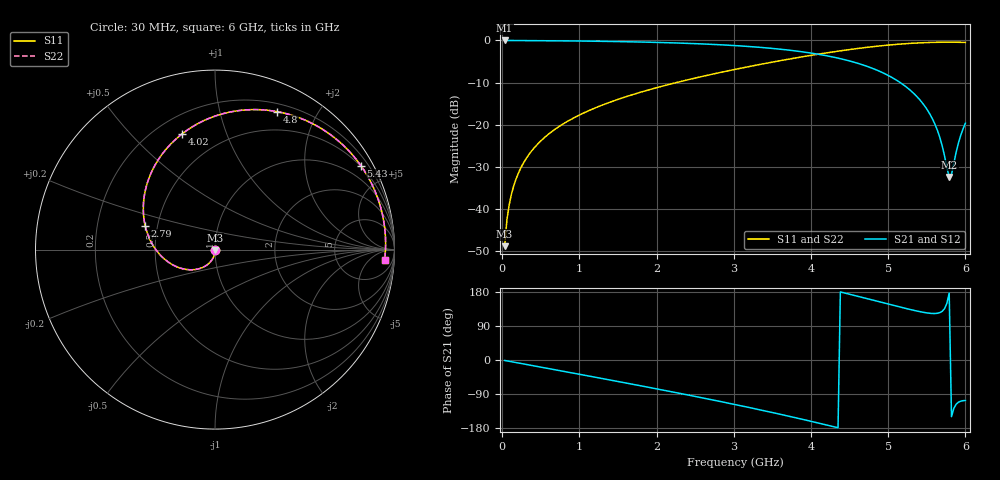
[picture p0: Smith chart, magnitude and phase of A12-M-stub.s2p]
! yapnr Order 0 O0-M: O0-M A12 STUB (stub, family M)
! stackup OSHPARK-4L-FR408HR, nominal parameters; geometry of the OSHPARK-4L-FR408HR design
! model: 2D quasi-static RLGC (Djordjevic-Sarkar, Huray roughness, Wheeler loss); generated by python -m yapnr.rf.coupons expected --stackup OSHPARK-4L-FR408HR --upload M
! reference planes 10 mm from each end; 50 ohm (from the M line's Zc)
# GHz S DB R 50
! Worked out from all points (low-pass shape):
!   200 points, 30 MHz to 6 GHz, reference 50 ohm
!   highest |S21| = -0.01 dB at 30 MHz (marker M1); lowest = -32.4 dB at 5.79 GHz (marker M2)
!   |S21| within 3 dB of the highest: start of sweep to 4.001 GHz
!   lowest |S11| = -48.8 dB at 30 MHz (marker M3), VSWR 1.01, Z = 50 - j0.359 ohm
!   |S11| at or under -10 dB: start of sweep to 2.255 GHz
!   |S22| runs from -48.8 to -0.4 dB; largest |S21 - S12| = 0
!   S11 on the Smith chart (normalised r, x): 30 MHz: 1.00, -0.01; 2.79 GHz: 0.43, +0.14; 4.02 GHz: 0.30, +0.71; 4.8 GHz: 0.28, +1.51; 5.43 GHz: 0.47, +3.68; 6 GHz: 16, -18
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0.03  -48.84 -82.8  -0.01 -1.2  -0.01 -1.2  -48.84 -82.8
0.06  -42.56 -87.0  -0.01 -2.3  -0.01 -2.3  -42.56 -87.0
0.12  -36.38 -91.3  -0.01 -4.6  -0.01 -4.6  -36.38 -91.3
0.27  -29.23 -98.5  -0.03 -10.2  -0.03 -10.2  -29.23 -98.5
0.57  -22.68 -110.7  -0.06 -21.5  -0.06 -21.5  -22.68 -110.7
1.05  -17.26 -129.3  -0.15 -39.6  -0.15 -39.6  -17.26 -129.3
1.56  -13.62 -149.1  -0.29 -59.0  -0.29 -59.0  -13.62 -149.1
2.04  -11.02 -168.1  -0.49 -77.7  -0.49 -77.7  -11.02 -168.1
2.79  -7.74 161.3  -1.00 -108.0  -1.00 -108.0  -7.74 161.3
3.03  -6.82 151.1  -1.24 -118.2  -1.24 -118.2  -6.82 151.1
3.57  -4.91 127.2  -2.02 -141.8  -2.02 -141.8  -4.91 127.2
4.02  -3.48 106.0  -3.06 -162.7  -3.06 -162.7  -3.48 106.0
4.44  -2.31 84.9  -4.59 176.6  -4.59 176.6  -2.31 84.9
4.8  -1.48 65.7  -6.65 158.1  -6.65 158.1  -1.48 65.7
5.01  -1.09 54.1  -8.40 147.2  -8.40 147.2  -1.09 54.1
5.43  -0.56 30.0  -14.55 126.8  -14.55 126.8  -0.56 30.0
5.64  -0.44 17.6  -21.47 123.4  -21.47 123.4  -0.44 17.6
5.7  -0.42 14.1  -25.06 128.6  -25.06 128.6  -0.42 14.1
5.79  -0.42 8.8  -32.40 176.6  -32.40 176.6  -0.42 8.8
5.82  -0.42 7.0  -31.82 -149.6  -31.82 -149.6  -0.42 7.0
5.91  -0.44 1.7  -24.34 -111.4  -24.34 -111.4  -0.44 1.7
6  -0.47 -3.6  -19.66 -107.0  -19.66 -107.0  -0.47 -3.6
